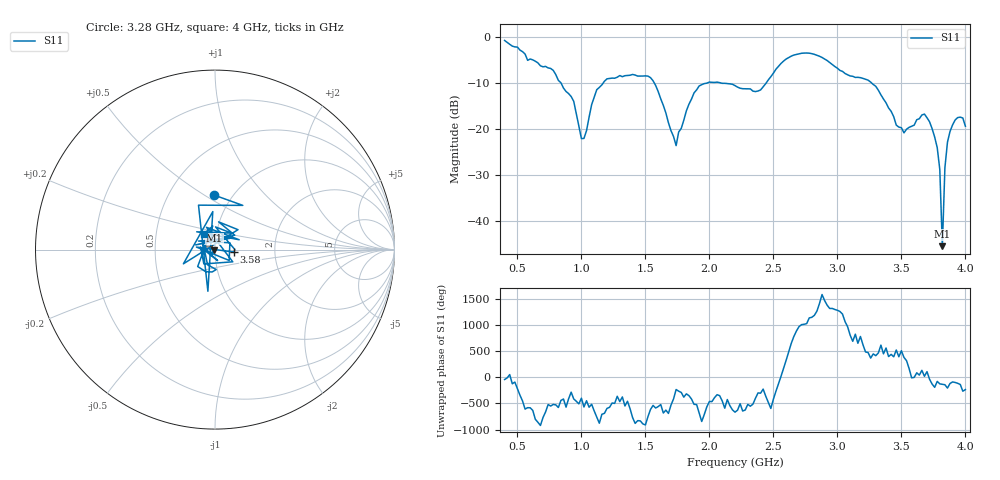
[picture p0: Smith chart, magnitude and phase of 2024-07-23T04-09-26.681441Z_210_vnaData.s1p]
!Created with skrf (http://scikit-rf.org).
# Hz S RI R 50.0
!freq ReS11 ImS11
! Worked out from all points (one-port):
!   181 points, 400 MHz to 4 GHz, reference 50 ohm
!   lowest |S11| = -45.4 dB at 3.82 GHz (marker M1), VSWR 1.01, Z = 49.6 - j0.392 ohm
!   |S11| at or under -10 dB: 1.57 GHz to 1.983 GHz (413.1 MHz wide, 23.3 % of centre); 2.091 GHz to 2.443 GHz (352.7 MHz wide, 15.6 % of centre); 3.268 GHz to end of sweep (the widest 3 of 4)
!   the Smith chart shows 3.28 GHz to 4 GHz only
!   S11 on the Smith chart (normalised r, x): 3.28 GHz: 0.82, +0.55; 3.58 GHz: 1.24, -0.03; 4 GHz: 0.87, +0.15
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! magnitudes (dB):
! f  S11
! 400 MHz  -0.8
! 780 MHz  -7.3
! 860 MHz  -11.1
! 940 MHz  -14.0
! 1 GHz  -22.1
! 1.02 GHz  -22.0
! 1.12 GHz  -11.4
! 1.3 GHz  -8.4
! 1.54 GHz  -8.8
! 1.74 GHz  -23.6
! 1.76 GHz  -20.6
! 1.92 GHz  -10.6
! 2.2 GHz  -10.6
! 2.4 GHz  -11.5
! 2.66 GHz  -3.9
! 3.1 GHz  -8.5
! 3.28 GHz  -10.3
! 3.46 GHz  -19.1
! 3.56 GHz  -19.6
! 3.58 GHz  -19.4
! 3.68 GHz  -16.7
! 3.76 GHz  -21.7
! 3.8 GHz  -28.7
! 3.82 GHz  -45.4
! 3.84 GHz  -28.4
! 3.86 GHz  -22.8
! 3.94 GHz  -17.5
! 4 GHz  -19.4
